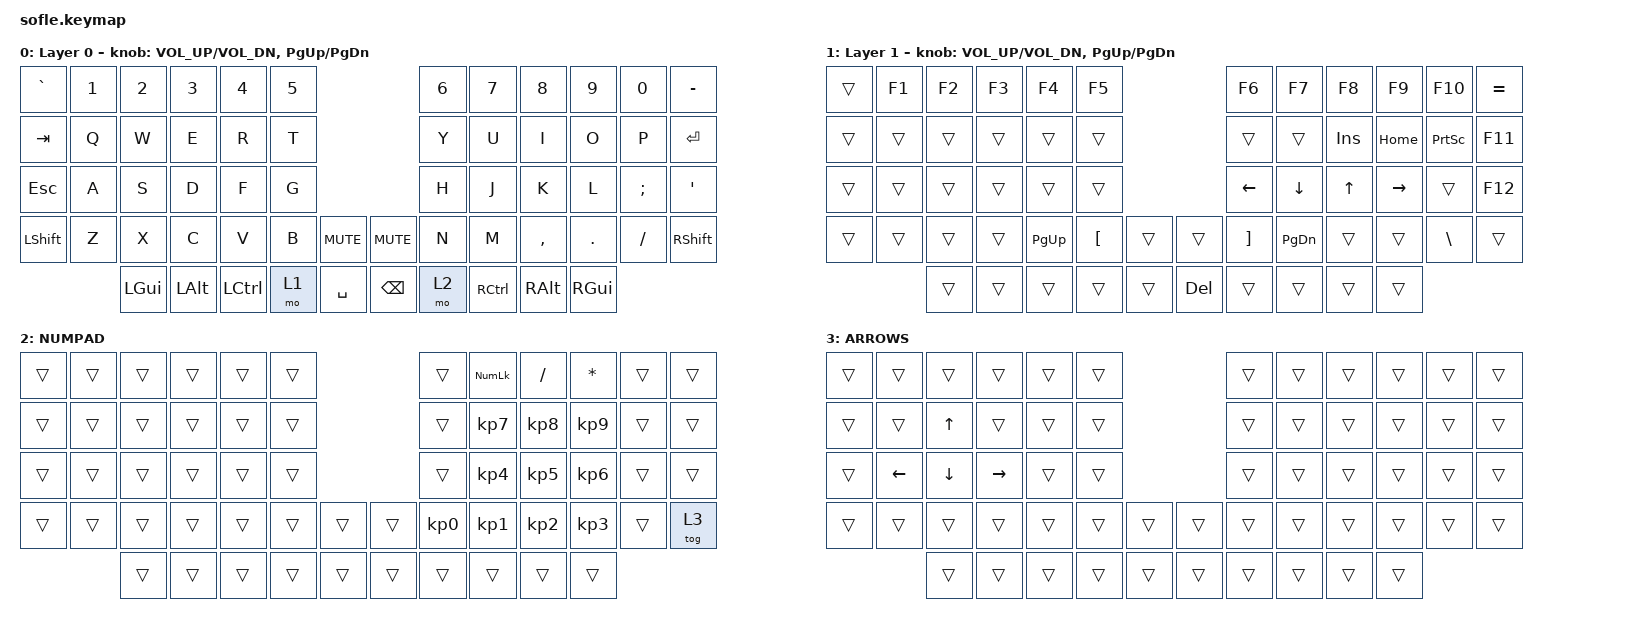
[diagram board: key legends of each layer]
/*
 * Copyright (c) 2020 The ZMK Contributors
 *
 * SPDX-License-Identifier: MIT
 */

#include <behaviors.dtsi>
#include <dt-bindings/zmk/keys.h>

&nice_view_spi { cs-gpios = <&pro_micro 0 GPIO_ACTIVE_HIGH>; };

/ {
    keymap {
        compatible = "zmk,keymap";

        default_layer {
            display-name = "Layer 0";

            // ------------------------------------------------------------------------------------------------------------
            // |  `    |  1  |  2  |  3   |  4   |  5   |                   |  6   |  7    |  8    |  9   |   0   |       |
            // |  ESC  |  Q  |  W  |  E   |  R   |  T   |                   |  Y   |  U    |  I    |  O   |   P   | BKSPC |
            // |  TAB  |  A  |  S  |  D   |  F   |  G   |                   |  H   |  J    |  K    |  L   |   ;   |   '   |
            // | SHIFT |  Z  |  X  |  C   |  V   |  B   |  MUTE  |  |       |  N   |  M    |  ,    |  .   |   /   | SHIFT |
            //               | GUI | ALT  | CTRL | LOWER|  ENTER |  | SPACE | RAISE| CTRL  | ALT   | GUI  |

            bindings = <
&kp GRAVE   &kp N1  &kp N2    &kp N3    &kp N4     &kp N5                               &kp N6  &kp N7     &kp N8     &kp N9    &kp N0    &kp MINUS
&kp TAB     &kp Q   &kp W     &kp E     &kp R      &kp T                                &kp Y   &kp U      &kp I      &kp O     &kp P     &kp ENTER
&kp ESCAPE  &kp A   &kp S     &kp D     &kp F      &kp G                                &kp H   &kp J      &kp K      &kp L     &kp SEMI  &kp SQT
&kp LSHFT   &kp Z   &kp X     &kp C     &kp V      &kp B   &kp C_MUTE    &kp C_MUTE     &kp N   &kp M      &kp COMMA  &kp DOT   &kp FSLH  &kp RSHFT
                    &kp LGUI  &kp LALT  &kp LCTRL  &mo 1   &kp SPACE     &kp BACKSPACE  &mo 2   &kp RCTRL  &kp RALT   &kp RGUI
            >;

            sensor-bindings = <&inc_dec_kp C_VOL_UP C_VOL_DN &inc_dec_kp PG_UP PG_DN>;
        };

        lower_layer {
            display-name = "Layer 1";

            // TODO: Some binds are waiting for shifted keycode support.
            // ------------------------------------------------------------------------------------------------------------
            // | `     |  F1 |  F2 |  F3  |  F4  |  F5  |                   |  F6  |  F7   |  F8   |  F9  |  F10  |  F11  |
            // | RAISE |   1 |   2 |   3  |   4  |   5  |                   |   6  |   7   |   8   |   9  |    0  |  F12  |
            // |       |  !  |  @  |  #   |  $   |  %   |                   |  ^   |  &    |  *    |  (   |   )   |   |   |
            // |       |  =  |  -  |  +   |  {   |  }   |        |  |       |  [   |  ]    |  ;    |  :   |   \   |       |
            //               |     |      |      |      |        |  |       |      |       |       |      |

            bindings = <
&trans  &kp F1  &kp F2  &kp F3  &kp F4       &kp F5                                  &kp F6             &kp F7          &kp F8        &kp F9           &kp F10        &kp EQUAL
&trans  &trans  &trans  &trans  &trans       &trans                                  &trans             &trans          &kp INS       &kp HOME         &kp PSCRN      &kp F11
&trans  &trans  &trans  &trans  &trans       &trans                                  &kp LEFT_ARROW     &kp DOWN_ARROW  &kp UP_ARROW  &kp RIGHT_ARROW  &trans         &kp F12
&trans  &trans  &trans  &trans  &kp PAGE_UP  &kp LEFT_BRACKET  &trans    &trans      &kp RIGHT_BRACKET  &kp PAGE_DOWN   &trans        &trans           &kp BACKSLASH  &trans
                &trans  &trans  &trans       &trans            &trans    &kp DELETE  &trans             &trans          &trans        &trans
            >;

            sensor-bindings = <&inc_dec_kp C_VOL_UP C_VOL_DN &inc_dec_kp PG_UP PG_DN>;
        };

        NUMPAD {
            bindings = <
&trans  &trans  &trans  &trans  &trans  &trans                    &trans           &kp KP_NUMLOCK   &kp SLASH        &kp ASTERISK     &trans  &trans
&trans  &trans  &trans  &trans  &trans  &trans                    &trans           &kp KP_NUMBER_7  &kp KP_N8        &kp KP_NUMBER_9  &trans  &trans
&trans  &trans  &trans  &trans  &trans  &trans                    &trans           &kp KP_NUMBER_4  &kp KP_NUMBER_5  &kp KP_NUMBER_6  &trans  &trans
&trans  &trans  &trans  &trans  &trans  &trans  &trans    &trans  &kp KP_NUMBER_0  &kp KP_NUMBER_1  &kp KP_NUMBER_2  &kp KP_NUMBER_3  &trans  &tog 3
                &trans  &trans  &trans  &trans  &trans    &trans  &trans           &trans           &trans           &trans
            >;
        };

        ARROWS {
            bindings = <
&trans  &trans    &trans        &trans     &trans  &trans                    &trans  &trans  &trans  &trans  &trans  &trans
&trans  &trans    &kp UP_ARROW  &trans     &trans  &trans                    &trans  &trans  &trans  &trans  &trans  &trans
&trans  &kp LEFT  &kp DOWN      &kp RIGHT  &trans  &trans                    &trans  &trans  &trans  &trans  &trans  &trans
&trans  &trans    &trans        &trans     &trans  &trans  &trans    &trans  &trans  &trans  &trans  &trans  &trans  &trans
                  &trans        &trans     &trans  &trans  &trans    &trans  &trans  &trans  &trans  &trans
            >;
        };
    };
};
